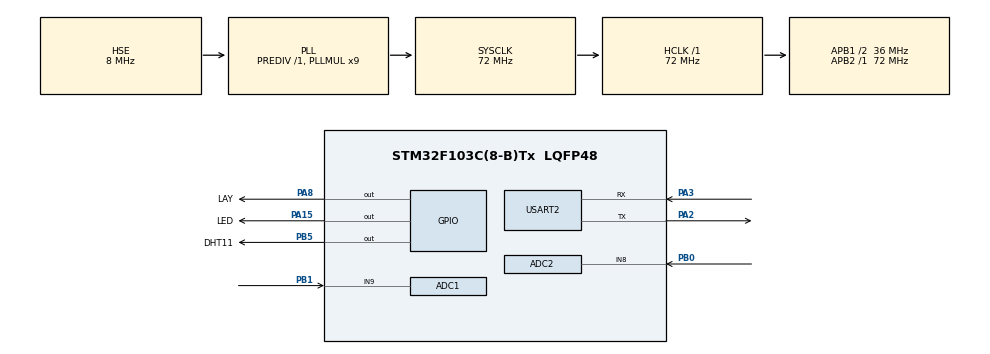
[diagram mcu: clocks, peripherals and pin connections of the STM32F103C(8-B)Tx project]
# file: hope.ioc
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ADC1.Channel-0\#ChannelRegularConversion=ADC_CHANNEL_9
ADC1.NbrOfConversionFlag=1
ADC1.Rank-0\#ChannelRegularConversion=1
ADC1.SamplingTime-0\#ChannelRegularConversion=ADC_SAMPLETIME_1CYCLE_5
ADC1.master=1
ADC2.Channel-0\#ChannelRegularConversion=ADC_CHANNEL_8
ADC2.NbrOfConversionFlag=1
ADC2.Rank-0\#ChannelRegularConversion=1
ADC2.SamplingTime-0\#ChannelRegularConversion=ADC_SAMPLETIME_1CYCLE_5
Mcu.Family=STM32F1
Mcu.Name=STM32F103C(8-B)Tx
Mcu.Package=LQFP48
NVIC.PriorityGroup=NVIC_PRIORITYGROUP_4
NVIC.USART2_IRQn=true\:0\:0\:false\:false\:true\:true\:true\:true
PA13.Mode=Serial_Wire
PA13.Signal=SYS_JTMS-SWDIO
PA14.Mode=Serial_Wire
PA14.Signal=SYS_JTCK-SWCLK
PA15.GPIO_Label=LED
PA15.GPIO_ModeDefaultOutputPP=GPIO_MODE_OUTPUT_PP
PA15.GPIO_PuPd=GPIO_PULLUP
PA15.GPIO_Speed=GPIO_SPEED_FREQ_HIGH
PA15.PinState=GPIO_PIN_SET
PA15.Signal=GPIO_Output
PA2.Mode=Asynchronous
PA2.Signal=USART2_TX
PA3.Mode=Asynchronous
PA3.Signal=USART2_RX
PA8.GPIO_Label=LAY
PA8.GPIO_ModeDefaultOutputPP=GPIO_MODE_OUTPUT_PP
PA8.GPIO_PuPd=GPIO_PULLDOWN
PA8.GPIO_Speed=GPIO_SPEED_FREQ_HIGH
PA8.PinState=GPIO_PIN_SET
PA8.Signal=GPIO_Output
PB0.Signal=ADCx_IN8
PB1.Signal=ADCx_IN9
PB5.GPIO_Label=DHT11
PB5.GPIO_PuPd=GPIO_PULLUP
PB5.GPIO_Speed=GPIO_SPEED_FREQ_HIGH
PB5.PinState=GPIO_PIN_SET
PB5.Signal=GPIO_Output
PD0-OSC_IN.Mode=HSE-External-Oscillator
PD0-OSC_IN.Signal=RCC_OSC_IN
PD1-OSC_OUT.Mode=HSE-External-Oscillator
PD1-OSC_OUT.Signal=RCC_OSC_OUT
ProjectManager.HeapSize=0x200
ProjectManager.StackSize=0x400
ProjectManager.TargetToolchain=MDK-ARM V5.32
RCC.ADCPresc=RCC_ADCPCLK2_DIV6
RCC.AHBFreq_Value=72000000
RCC.APB1CLKDivider=RCC_HCLK_DIV2
RCC.APB1Freq_Value=36000000
RCC.APB1TimFreq_Value=72000000
RCC.APB2Freq_Value=72000000
RCC.APB2TimFreq_Value=72000000
RCC.HCLKFreq_Value=72000000
RCC.PLLMUL=RCC_PLL_MUL9
RCC.PLLSourceVirtual=RCC_PLLSOURCE_HSE
RCC.SYSCLKFreq_VALUE=72000000
RCC.SYSCLKSource=RCC_SYSCLKSOURCE_PLLCLK
RCC.USBFreq_Value=72000000
SH.ADCx_IN8.0=ADC2_IN8,IN8
SH.ADCx_IN9.0=ADC1_IN9,IN9
USART2.VirtualMode=VM_ASYNC
board=custom

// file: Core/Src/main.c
/* USER CODE BEGIN Header */
/**
  ******************************************************************************
  * @file           : main.c
  * @brief          : Main program body
  ******************************************************************************
  * @attention
  *
  * Copyright (c) 2026 STMicroelectronics.
  * All rights reserved.
  *
  * This software is licensed under terms that can be found in the LICENSE file
  * in the root directory of this software component.
  * If no LICENSE file comes with this software, it is provided AS-IS.
  *
  ******************************************************************************
  */
/* USER CODE END Header */
#include "main.h"
#include "adc.h"
#include "usart.h"
#include "gpio.h"

/* USER CODE BEGIN Includes */
#include "dht11.h"
#include <string.h>
/* USER CODE END Includes */

/* Private variables ---------------------------------------------------------
*/
/* USER CODE BEGIN PV */
DHT11_Data_t dht11_data;
char uart_buf[100];
uint16_t LIGHT_THRESHOLD = 3000;
uint16_t SOIL_THRESHOLD = 3000;

/* UART receive buffer */
#define UART_BUF_SIZE 20
char uart_rx_buf[UART_BUF_SIZE];
uint8_t uart_rx_index = 0;

/* USER CODE END PV */

void SystemClock_Config(void);

/* USER CODE BEGIN 0 */
#include "stm32f1xx_hal_flash.h"

/* Flash memory addresses for threshold storage */
#define FLASH_LIGHT_THRESHOLD_ADDR  0x08007C00  /* Last 1KB of 64KB flash */
#define FLASH_SOIL_THRESHOLD_ADDR   0x08007C02

/* Flash unlock and lock functions */
void Flash_Unlock(void) {
    HAL_FLASH_Unlock();
}

void Flash_Lock(void) {
    HAL_FLASH_Lock();
}

/* Write 16-bit value to Flash */
HAL_StatusTypeDef Flash_Write16(uint32_t address, uint16_t value) {
    Flash_Unlock();

    /* Erase the sector first if needed */
    FLASH_EraseInitTypeDef eraseInit;
    eraseInit.TypeErase = FLASH_TYPEERASE_PAGES;
    eraseInit.PageAddress = FLASH_LIGHT_THRESHOLD_ADDR;
    eraseInit.NbPages = 1;

    uint32_t error = 0;
    HAL_FLASHEx_Erase(&eraseInit, &error);

    if (error != 0) {
        Flash_Lock();
        return HAL_ERROR;
    }

    /* Program the value */
    HAL_StatusTypeDef status = HAL_FLASH_Program(FLASH_TYPEPROGRAM_HALFWORD, address, value);
    Flash_Lock();
    return status;
}

/* Read 16-bit value from Flash */
uint16_t Flash_Read16(uint32_t address) {
    return *((uint16_t*)address);
}

/* Process UART command */
void ProcessUARTCommand(char* cmd) {
    uint16_t value = 0;

    if (sscanf(cmd, "ADC1:%hu", &value) == 1) {
        LIGHT_THRESHOLD = value;
        Flash_Write16(FLASH_LIGHT_THRESHOLD_ADDR, value);
        snprintf(uart_buf, sizeof(uart_buf), "Light threshold set to %u\r\n", value);
        HAL_UART_Transmit(&huart2, (uint8_t*)uart_buf, strlen(uart_buf), 500);
    }
    else if (sscanf(cmd, "ADC2:%hu", &value) == 1) {
        SOIL_THRESHOLD = value;
        Flash_Write16(FLASH_SOIL_THRESHOLD_ADDR, value);
        snprintf(uart_buf, sizeof(uart_buf), "Soil threshold set to %u\r\n", value);
        HAL_UART_Transmit(&huart2, (uint8_t*)uart_buf, strlen(uart_buf), 500);
    }
}

/* USER CODE END 0 */

int main(void)
{

  /* MCU Configuration--------------------------------------------------------*/

  /* Reset of all peripherals, Initializes the Flash interface and the Systick. */
  HAL_Init();

  /* Configure the system clock */
  SystemClock_Config();

  /* Initialize all configured peripherals */
  MX_GPIO_Init();
  MX_ADC1_Init();
  MX_ADC2_Init();
  MX_USART2_UART_Init();
  /* USER CODE BEGIN 2 */
	  /*Configure GPIO pin Output Level */
  HAL_GPIO_WritePin(LED_GPIO_Port, LED_Pin, GPIO_PIN_RESET);

  /*Configure GPIO pin Output Level */
  HAL_GPIO_WritePin(LAY_GPIO_Port, LAY_Pin, GPIO_PIN_RESET);
  HAL_ADCEx_Calibration_Start(&hadc1);
  HAL_ADCEx_Calibration_Start(&hadc2);

  /* Read thresholds from Flash */
  uint16_t saved_light = Flash_Read16(FLASH_LIGHT_THRESHOLD_ADDR);
  uint16_t saved_soil = Flash_Read16(FLASH_SOIL_THRESHOLD_ADDR);

  if (saved_light != 0xFFFF) {  /* Check if Flash has valid data */
      LIGHT_THRESHOLD = saved_light;
  }
  if (saved_soil != 0xFFFF) {
      SOIL_THRESHOLD = saved_soil;
  }

  /* Enable UART receive interrupt */
  HAL_UART_Receive_IT(&huart2, (uint8_t*)uart_rx_buf, 1);

  snprintf(uart_buf, sizeof(uart_buf), "System Initialized\r\nLight threshold: %u\r\nSoil threshold: %u\r\n",
           LIGHT_THRESHOLD, SOIL_THRESHOLD);
  HAL_UART_Transmit(&huart2, (uint8_t *)uart_buf, strlen(uart_buf), 500);
  /* USER CODE END 2 */

  /* Infinite loop */
  /* USER CODE BEGIN WHILE */
  while (1)
  {
    uint32_t adc1_value = ADC1_Read();
    uint32_t adc2_value = ADC2_Read();

    if (adc1_value > LIGHT_THRESHOLD) {
        HAL_GPIO_WritePin(LED_GPIO_Port, LED_Pin, GPIO_PIN_SET);
    } else {
        HAL_GPIO_WritePin(LED_GPIO_Port, LED_Pin, GPIO_PIN_RESET);
    }

    if (adc2_value > SOIL_THRESHOLD) {
        HAL_GPIO_WritePin(LAY_GPIO_Port, LAY_Pin, GPIO_PIN_SET);
    } else {
        HAL_GPIO_WritePin(LAY_GPIO_Port, LAY_Pin, GPIO_PIN_RESET);
    }

    uint8_t dht_status = DHT11_READ_DATA(&dht11_data);

    if (dht_status == 0) {
        snprintf(uart_buf, sizeof(uart_buf),
                 "ADC1:%u,ADC2:%u,Temp:%uC,Hum:%u%%\r\n",
                 (unsigned int)adc1_value, (unsigned int)adc2_value,
                 (unsigned int)dht11_data.temp_int, (unsigned int)dht11_data.humidity_int);
    } else {
        snprintf(uart_buf, sizeof(uart_buf),
                 "ADC1:%u,ADC2:%u,DHT11 Err:%u\r\n",
                 (unsigned int)adc1_value, (unsigned int)adc2_value,
                 (unsigned int)dht_status);
    }

    uint16_t len = strlen(uart_buf);
    HAL_UART_Transmit(&huart2, (uint8_t *)uart_buf, len, 500);
    HAL_Delay(5000);
    /* USER CODE END WHILE */

  }
}

void SystemClock_Config(void)
{
  RCC_OscInitTypeDef RCC_OscInitStruct = {0};
  RCC_ClkInitTypeDef RCC_ClkInitStruct = {0};
  RCC_PeriphCLKInitTypeDef PeriphClkInit = {0};

  /** Initializes the RCC Oscillators according to the specified parameters
  * in the RCC_OscInitTypeDef structure.
  */
  RCC_OscInitStruct.OscillatorType = RCC_OSCILLATORTYPE_HSE;
  RCC_OscInitStruct.HSEState = RCC_HSE_ON;
  RCC_OscInitStruct.HSEPredivValue = RCC_HSE_PREDIV_DIV1;
  RCC_OscInitStruct.HSIState = RCC_HSI_ON;
  RCC_OscInitStruct.PLL.PLLState = RCC_PLL_ON;
  RCC_OscInitStruct.PLL.PLLSource = RCC_PLLSOURCE_HSE;
  RCC_OscInitStruct.PLL.PLLMUL = RCC_PLL_MUL9;
  if (HAL_RCC_OscConfig(&RCC_OscInitStruct) != HAL_OK)
  {
    Error_Handler();
  }

  /** Initializes the CPU, AHB and APB buses clocks
  */
  RCC_ClkInitStruct.ClockType = RCC_CLOCKTYPE_HCLK|RCC_CLOCKTYPE_SYSCLK
                              |RCC_CLOCKTYPE_PCLK1|RCC_CLOCKTYPE_PCLK2;
  RCC_ClkInitStruct.SYSCLKSource = RCC_SYSCLKSOURCE_PLLCLK;
  RCC_ClkInitStruct.AHBCLKDivider = RCC_SYSCLK_DIV1;
  RCC_ClkInitStruct.APB1CLKDivider = RCC_HCLK_DIV2;
  RCC_ClkInitStruct.APB2CLKDivider = RCC_HCLK_DIV1;

  if (HAL_RCC_ClockConfig(&RCC_ClkInitStruct, FLASH_LATENCY_2) != HAL_OK)
  {
    Error_Handler();
  }
  PeriphClkInit.PeriphClockSelection = RCC_PERIPHCLK_ADC;
  PeriphClkInit.AdcClockSelection = RCC_ADCPCLK2_DIV6;
  if (HAL_RCCEx_PeriphCLKConfig(&PeriphClkInit) != HAL_OK)
  {
    Error_Handler();
  }
}

/* USER CODE BEGIN 4 */

/**
  * @brief  UART receive completed callback
  * @param  huart: UART handle
  * @retval None
  */
void HAL_UART_RxCpltCallback(UART_HandleTypeDef *huart) {
    if (huart->Instance == USART2) {
        /* Process received character */
        if (uart_rx_buf[uart_rx_index] == '\r' || uart_rx_buf[uart_rx_index] == '\n') {
            /* Command complete, process it */
            if (uart_rx_index > 0) {
                uart_rx_buf[uart_rx_index] = '\0';  /* Null-terminate */

                /* Check for Bluetooth connection status messages */
                if (strcmp(uart_rx_buf, "CONNECT OK") == 0 || strcmp(uart_rx_buf, "DISCONNECT") == 0) {
                    /* Clear buffer and do nothing */
                    uart_rx_index = 0;
                } else {
                    /* Process other commands */
                    ProcessUARTCommand(uart_rx_buf);
                    uart_rx_index = 0;  /* Reset buffer */
                }
            } else {
                uart_rx_index = 0;  /* Reset buffer */
            }
        } else {
            /* Add character to buffer */
            if (uart_rx_index < UART_BUF_SIZE - 1) {
                uart_rx_index++;
            }
        }

        /* Restart receive interrupt */
        HAL_UART_Receive_IT(&huart2, &uart_rx_buf[uart_rx_index], 1);
    }
}

/* USER CODE END 4 */

void Error_Handler(void)
{
  __disable_irq();
  while (1)
  {
  }
}
